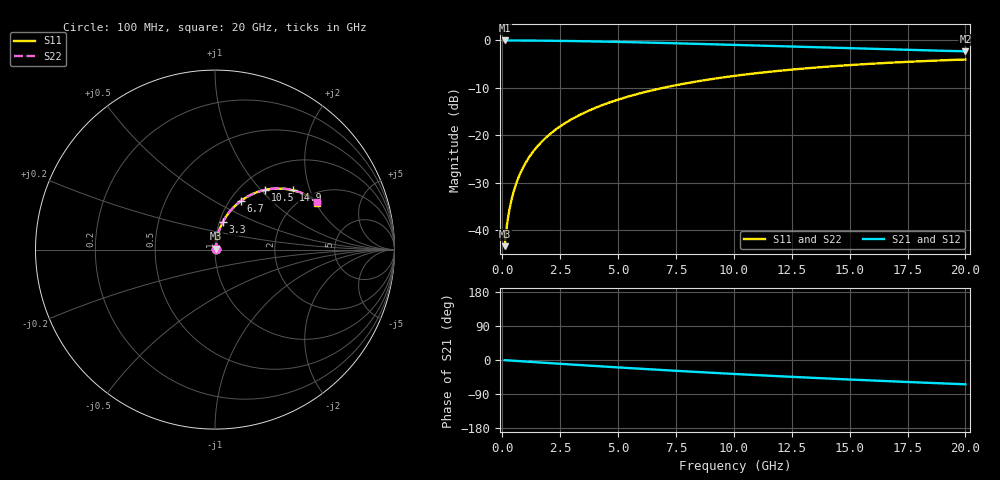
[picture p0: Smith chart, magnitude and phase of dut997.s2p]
! Touchstone file exported from HFSS 2026.1.0
!  File:  C:/ffzhzh/LocalFiles/Ansys_Project_Files/temp_train_BSMRDL_997_1783173048_22436.aedt
!  Generated:  09:52:11 PM Jul  4, 2026
!  Design:  BSMRDL
!  Project:  temp_train_BSMRDL_997_1783173048_22436
! Variables:
!  h_bsmrdl = 5.65um
!  h_ox = 20um
!  h_rdl = 5um
!  h_sub = 80um
!  h_tmrdl = 5um
!  h_tsv = 80um
!  h_via = 3um
!  l_bsmrdl = 971.83um
!  l_sub = 1371.83um
!  l_tmrdl = 200um
!  m_sub = 200um
!  pitch = 58.87um
!  r_tsv = 6um
!  s_tmrdl = 10um
!  w_bsmrdl = 14.26um
!  w_sub = 500um
!  w_tmrdl = 12um
!  x_tsv_center1 = 206um
!  x_tsv_center2 = 1192.09um
!  x_tsv_center3 = 1404.09um
!  x_tsv_center4 = 2390.18um
!  x_tsv_center5 = 2602.18um
!  x_tsv_center6 = 3588.27um
# GHz S MA R 50.000000
! Terminal data exported
! Port[1] = BSM_RDL1_1_T1
! Port[2] = BSM_RDL1_1_T2
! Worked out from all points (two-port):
!   200 points, 100 MHz to 20 GHz, reference 50 ohm
!   highest |S21| = -0.04 dB at 100 MHz (marker M1); lowest = -2.3 dB at 20 GHz (marker M2)
!   |S21| within 3 dB of the highest: start of sweep to end of sweep
!   lowest |S11| = -43.4 dB at 100 MHz (marker M3), VSWR 1.01, Z = 50.4 + j0.522 ohm
!   |S11| at or under -10 dB: start of sweep to 6.972 GHz
!   |S22| runs from -43.4 to -4.0 dB; largest |S21 - S12| = 2e-15
!   S11 on the Smith chart (normalised r, x): 100 MHz: 1.01, +0.01; 3.3 GHz: 1.04, +0.33; 6.7 GHz: 1.12, +0.67; 10.5 GHz: 1.29, +1.06; 14.9 GHz: 1.64, +1.54; 20 GHz: 2.40, +2.07
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0.1  0.006753 50.0  0.9957 -0.4  0.9957 -0.4  0.006753 50.0
! Gamma 0 0 0 0
! Port Impedance 50 0 50 0
0.2  0.01126 66.1  0.9955 -0.8  0.9955 -0.8  0.01126 66.1
0.3  0.01609 72.3  0.9953 -1.2  0.9953 -1.2  0.01609 72.3
0.4  0.02099 75.5  0.9951 -1.6  0.9951 -1.6  0.02099 75.5
0.5  0.02592 77.3  0.9949 -2.0  0.9949 -2.0  0.02592 77.3
0.7  0.0358 79.2  0.9944 -2.9  0.9944 -2.9  0.0358 79.2
1  0.05065 80.0  0.9935 -4.1  0.9935 -4.1  0.05065 80.1
1.4  0.0704 79.8  0.992 -5.7  0.992 -5.7  0.0704 79.8
1.9  0.09486 78.7  0.9894 -7.7  0.9894 -7.7  0.09486 78.7
2.5  0.1237 76.8  0.9855 -10.0  0.9855 -10.0  0.1237 76.8
3.3  0.1613 74.1  0.9791 -13.2  0.9791 -13.2  0.1613 74.1
3.5  0.1705 73.3  0.9773 -13.9  0.9773 -13.9  0.1705 73.4
4.9  0.2324 68.4  0.9629 -19.2  0.9629 -19.2  0.2324 68.4
6.7  0.3058 62.1  0.9407 -25.7  0.9407 -25.7  0.3058 62.2
6.8  0.3096 61.8  0.9394 -26.1  0.9394 -26.1  0.3096 61.8
8.3  0.3647 56.8  0.9187 -31.2  0.9187 -31.2  0.3647 56.8
10.1  0.4237 51.0  0.8926 -37.1  0.8926 -37.1  0.4237 51.1
10.5  0.4358 49.8  0.8868 -38.4  0.8868 -38.4  0.4358 49.9
13.4  0.5127 41.3  0.8448 -47.1  0.8448 -47.1  0.5127 41.5
14.9  0.5455 37.2  0.8243 -51.3  0.8243 -51.3  0.5455 37.4
16.7  0.5793 32.6  0.8013 -56.0  0.8013 -56.0  0.5793 32.8
20  0.6274 24.6  0.7652 -64.1  0.7652 -64.1  0.6274 24.8
